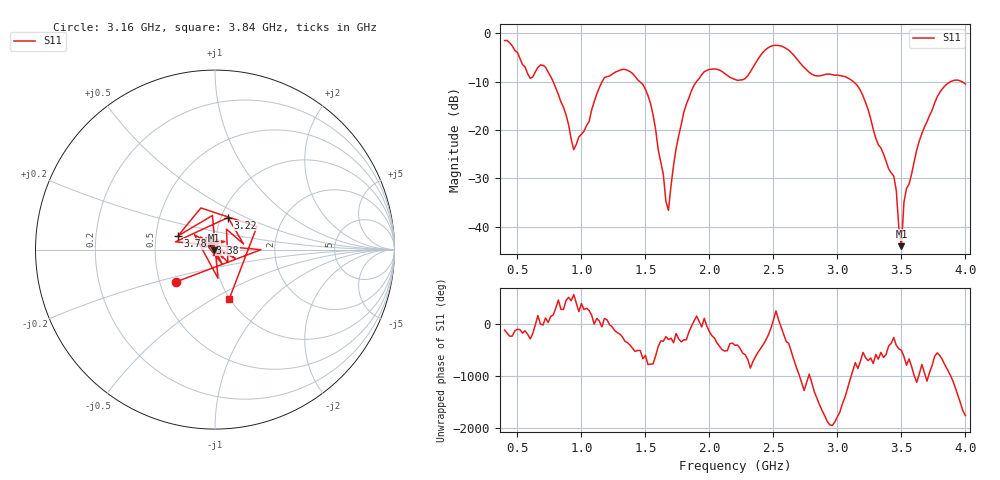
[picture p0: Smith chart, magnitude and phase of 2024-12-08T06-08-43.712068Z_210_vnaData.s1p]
!Created with skrf (http://scikit-rf.org).
# Hz S RI R 50.0
!freq ReS11 ImS11
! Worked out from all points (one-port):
!   181 points, 400 MHz to 4 GHz, reference 50 ohm
!   lowest |S11| = -44.0 dB at 3.5 GHz (marker M1), VSWR 1.01, Z = 49.5 - j0.311 ohm
!   |S11| at or under -10 dB: 779.4 MHz to 1.162 GHz (383.1 MHz wide, 39.5 % of centre); 1.455 GHz to 1.899 GHz (444.2 MHz wide, 26.5 % of centre); 3.124 GHz to 3.886 GHz (762.7 MHz wide, 21.8 % of centre) (the widest 3 of 4)
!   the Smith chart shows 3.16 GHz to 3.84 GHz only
!   S11 on the Smith chart (normalised r, x): 3.16 GHz: 0.61, -0.24; 3.22 GHz: 1.08, +0.40; 3.38 GHz: 0.94, +0.07; 3.78 GHz: 0.65, +0.10; 3.84 GHz: 1.00, -0.59
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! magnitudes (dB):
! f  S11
! 400 MHz  -1.5
! 600 MHz  -9.3
! 720 MHz  -7.0
! 860 MHz  -15.3
! 940 MHz  -24.1
! 1.18 GHz  -9.2
! 1.3 GHz  -7.7
! 1.52 GHz  -12.9
! 1.68 GHz  -36.6
! 1.76 GHz  -21.2
! 1.86 GHz  -11.9
! 1.96 GHz  -8.0
! 2.2 GHz  -9.6
! 2.48 GHz  -2.7
! 2.66 GHz  -4.6
! 2.82 GHz  -8.7
! 3.1 GHz  -9.5
! 3.16 GHz  -11.0
! 3.22 GHz  -14.3
! 3.38 GHz  -26.4
! 3.44 GHz  -29.5
! 3.5 GHz  -44.0
! 3.52 GHz  -34.9
! 3.56 GHz  -31.2
! 3.64 GHz  -22.2
! 3.78 GHz  -13.1
! 3.84 GHz  -10.9
! 4 GHz  -10.5
